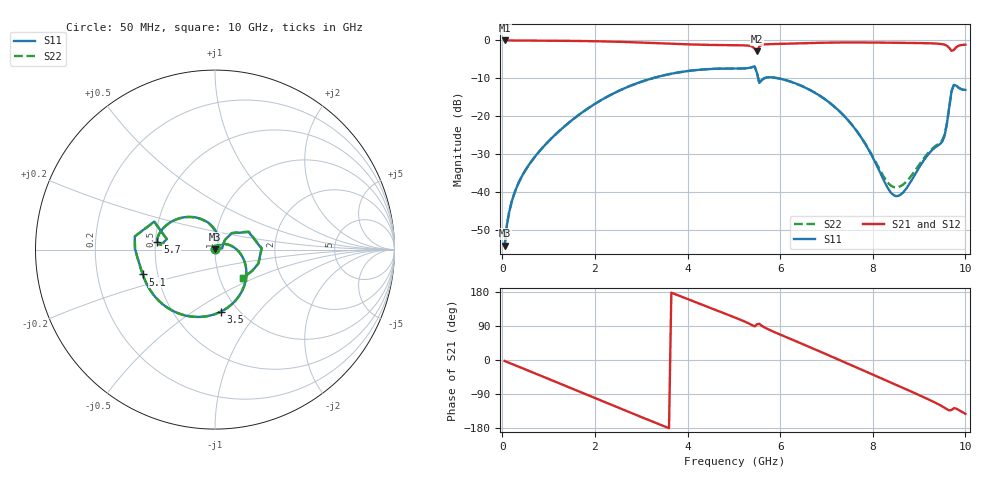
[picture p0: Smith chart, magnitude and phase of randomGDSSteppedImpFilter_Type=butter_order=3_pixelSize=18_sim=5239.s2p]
! freq	dB(S11)	phase(S11)	dB(S12)	phase(S12)
!  dB(S21)	phase(S21)	dB(S22)	phase(S22)
!S-par simulation data
#  GHz  S  DB  R 50
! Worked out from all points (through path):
!   200 points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, 50 MHz to 10 GHz, reference 50 ohm
!   highest |S21| = 0.00 dB at 50 MHz (marker M1); lowest = -2.9 dB at 5.5 GHz (marker M2)
!   group delay of S21, straight-line fit = 139 ps
!   lowest |S11| = -54.1 dB at 50 MHz (marker M3), VSWR 1.00, Z = 50.1 + j0.189 ohm
!   |S11| at or under -10 dB: start of sweep to 3.236 GHz; 5.527 GHz to 5.651 GHz (124.1 MHz wide, 2.22 % of centre); 5.962 GHz to end of sweep
!   |S22| runs from -54.3 to -6.9 dB; largest |S21 - S12| = 0
!   S11 on the Smith chart (normalised r, x): 50 MHz: 1.00, +0.00; 3.5 GHz: 0.83, -0.65; 5.1 GHz: 0.41, -0.14; 5.7 GHz: 0.51, +0.05; 10 GHz: 1.28, -0.43
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0.05  -54.10 73.5  -0.00 -2.5  -0.00 -2.5  -54.26 72.6
0.2  -42.67 76.4  -0.02 -10.0  -0.02 -10.0  -42.66 76.4
0.45  -35.25 66.6  -0.03 -22.5  -0.03 -22.5  -35.25 66.7
1.15  -24.78 33.0  -0.08 -57.5  -0.08 -57.5  -24.78 33.1
1.75  -18.77 2.7  -0.16 -87.6  -0.16 -87.6  -18.77 2.8
2.65  -12.56 -42.9  -0.41 -133.0  -0.41 -133.0  -12.56 -42.8
3.4  -9.46 -80.1  -0.75 -170.2  -0.75 -170.2  -9.46 -80.0
3.5  -9.17 -84.9  -0.80 -175.1  -0.80 -175.1  -9.17 -84.8
4.2  -7.80 -118.3  -1.10 151.4  -1.10 151.4  -7.80 -118.2
5.05  -7.42 -158.5  -1.26 110.8  -1.26 110.8  -7.41 -158.4
5.1  -7.41 -161.0  -1.27 108.3  -1.27 108.3  -7.41 -160.9
5.45  -6.87 170.6  -2.16 88.8  -2.16 88.8  -6.88 170.8
5.5  -8.57 155.3  -2.88 94.2  -2.88 94.2  -8.59 155.4
5.55  -11.21 167.6  -1.58 95.6  -1.58 95.6  -11.22 167.8
5.7  -9.80 172.4  -1.01 83.5  -1.01 83.5  -9.80 172.6
6.7  -13.44 122.1  -0.66 30.8  -0.66 30.8  -13.44 122.7
7.5  -21.53 80.9  -0.53 -11.7  -0.53 -11.7  -21.50 83.1
8.35  -39.43 61.7  -0.59 -57.2  -0.59 -57.2  -37.84 75.7
8.65  -40.17 61.4  -0.63 -73.4  -0.63 -73.4  -38.05 72.8
9.5  -26.70 22.0  -0.98 -122.3  -0.98 -122.3  -26.34 23.9
9.75  -11.72 1.2  -2.54 -127.2  -2.54 -127.2  -11.69 1.7
10  -13.06 -46.4  -1.12 -142.1  -1.12 -142.1  -13.05 -45.8
